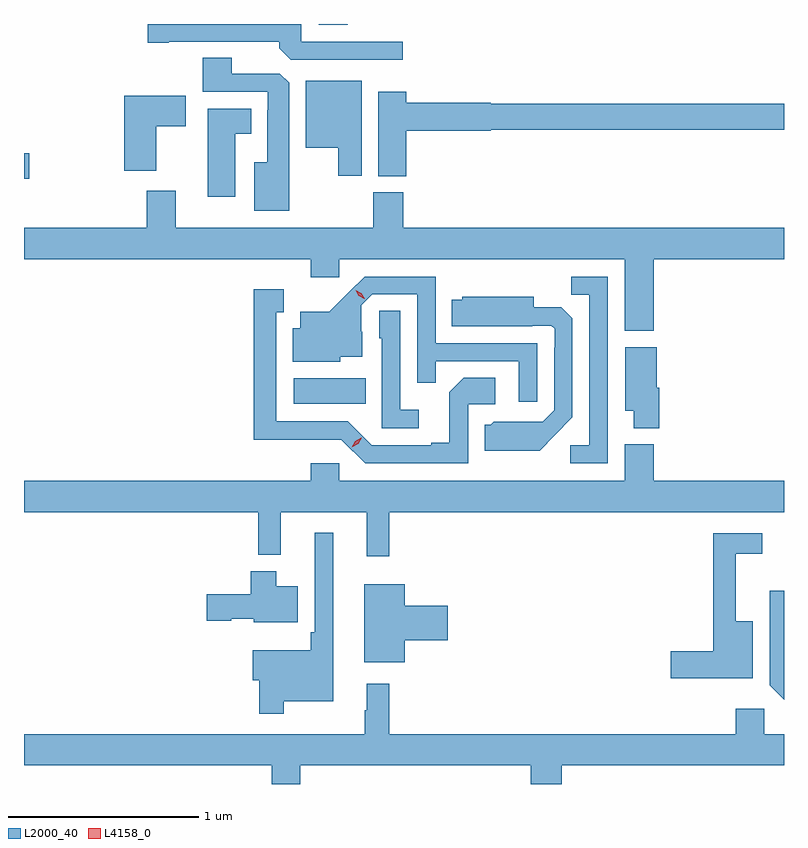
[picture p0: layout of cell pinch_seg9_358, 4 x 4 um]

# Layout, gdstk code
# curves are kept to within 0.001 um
import gdstk
lib = gdstk.Library(unit=1e-6, precision=1e-09)
def R(c, l, rs):  # rectangles x0, y0, x1, y1
    for r in rs: c.add(gdstk.rectangle(r[:2], r[2:], *l))
def P(c, l, *ps):  # polygons
    for p in ps: c.add(gdstk.Polygon(p, *l))
L2000_40 = (2000, 40)
L4158_0 = (4158, 0)

pinch_seg9_358 = lib.new_cell('pinch_seg9_358')
R(pinch_seg9_358, L2000_40, [(610.236,1195.658,610.616,1195.792), (608.817,1196.843,608.845,1196.978), (610.367,1197.653,610.52,1197.657)])
P(pinch_seg9_358, L2000_40, [(610.81,1197.564),(610.275,1197.564),(610.275,1197.657),(609.468,1197.657),(609.468,1197.559),(609.58,1197.559),(609.58,1197.564),(610.16,1197.564),(610.16,1197.53),(610.221,1197.468),(610.81,1197.468)],
  [(610.213,1197.347),(610.164,1197.396),(609.91,1197.396),(609.91,1197.479),(609.758,1197.479),(609.758,1197.3),(610.101,1197.3),(610.101,1197.203),(610.097,1197.203),(610.097,1196.929),(610.028,1196.929),(610.028,1196.675),(610.213,1196.675)],
  [(610.594,1197.358),(610.301,1197.358),(610.301,1197.005),(610.472,1197.005),(610.472,1196.859),(610.594,1196.859)],
  [(610.829,1197.095),(611.274,1197.095),(611.274,1197.1),(612.817,1197.1),(612.817,1197.236),(611.274,1197.236),(611.274,1197.242),(610.829,1197.242),(610.829,1197.301),(610.682,1197.301),(610.682,1196.857),(610.829,1196.857)],
  [(609.514,1197.118),(609.667,1197.118),(609.667,1197.28),(609.344,1197.28),(609.344,1196.885),(609.514,1196.885)],
  [(609.928,1197.08),(610.012,1197.08),(610.012,1197.211),(609.785,1197.211),(609.785,1196.748),(609.928,1196.748)],
  [(610.654,1196.772),(610.654,1196.584),(609.616,1196.584),(609.616,1196.779),(609.464,1196.779),(609.464,1196.584),(608.817,1196.584),(608.817,1196.42),(610.325,1196.42),(610.325,1196.325),(610.476,1196.325),(610.476,1196.42),(611.978,1196.42),(611.978,1196.042),(612.131,1196.042),(612.131,1196.42),(612.817,1196.42),(612.817,1196.584),(610.814,1196.584),(610.814,1196.772)],
  [(611.889,1196.328),(611.698,1196.328),(611.698,1196.233),(611.793,1196.233),(611.793,1195.44),(611.691,1195.44),(611.691,1195.344),(611.889,1195.344)],
  [(611.517,1195.977),(610.983,1195.977),(610.983,1196.328),(610.61,1196.328),(610.423,1196.143),(610.271,1196.143),(610.271,1196.056),(610.232,1196.056),(610.232,1195.88),(610.482,1195.88),(610.482,1195.907),(610.597,1195.907),(610.597,1196.036),(610.593,1196.036),(610.593,1196.178),(610.65,1196.235),(610.887,1196.235),(610.887,1195.768),(610.985,1195.768),(610.985,1195.881),(611.421,1195.881),(611.421,1195.668),(611.517,1195.668)],
  [(611.154,1195.656),(611.296,1195.656),(611.296,1195.796),(611.131,1195.796),(611.055,1195.72),(611.055,1195.453),(610.961,1195.453),(610.961,1195.44),(610.647,1195.44),(610.521,1195.566),(610.144,1195.566),(610.144,1196.139),(610.183,1196.139),(610.183,1196.26),(610.026,1196.26),(610.026,1195.469),(610.488,1195.47),(610.614,1195.344),(611.154,1195.344)],
  [(611.611,1195.493),(611.703,1195.586),(611.703,1196.108),(611.644,1196.167),(611.5,1196.167),(611.5,1196.221),(611.124,1196.221),(611.124,1196.206),(611.068,1196.206),(611.068,1196.066),(611.492,1196.066),(611.492,1196.07),(611.592,1196.07),(611.61,1196.052),(611.61,1195.952),(611.607,1195.952),(611.607,1195.623),(611.547,1195.563),(611.29,1195.564),(611.274,1195.548),(611.243,1195.548),(611.243,1195.412),(611.531,1195.412)],
  [(610.894,1195.627),(610.797,1195.627),(610.797,1196.147),(610.686,1196.147),(610.686,1196.004),(610.701,1196.004),(610.701,1195.53),(610.894,1195.53)],
  [(612.161,1195.743),(612.148,1195.743),(612.148,1195.957),(611.981,1195.957),(611.981,1195.622),(612.026,1195.622),(612.026,1195.529),(612.161,1195.529)],
  [(610.622,1194.855),(610.739,1194.855),(610.739,1195.088),(612.817,1195.088),(612.817,1195.252),(612.131,1195.252),(612.131,1195.444),(611.978,1195.444),(611.978,1195.252),(610.476,1195.252),(610.476,1195.345),(610.325,1195.345),(610.325,1195.252),(608.817,1195.252),(608.817,1195.088),(610.051,1195.088),(610.051,1194.863),(610.169,1194.863),(610.169,1195.088),(610.622,1195.088)],
  [(610.183,1194.092),(610.444,1194.092),(610.444,1194.979),(610.347,1194.979),(610.347,1194.457),(610.327,1194.457),(610.327,1194.361),(610.02,1194.361),(610.02,1194.203),(610.054,1194.203),(610.054,1194.027),(610.183,1194.027)],
  [(612.652,1194.514),(612.563,1194.514),(612.563,1194.87),(612.703,1194.87),(612.703,1194.978),(612.445,1194.978),(612.445,1194.356),(612.222,1194.356),(612.222,1194.214),(612.652,1194.214)],
  [(610.258,1194.697),(610.144,1194.697),(610.144,1194.778),(610.01,1194.778),(610.01,1194.657),(609.78,1194.657),(609.78,1194.515),(609.909,1194.515),(609.909,1194.527),(610.026,1194.527),(610.026,1194.509),(610.258,1194.509)],
  [(610.822,1194.413),(611.047,1194.413),(611.047,1194.596),(610.822,1194.596),(610.822,1194.709),(610.607,1194.709),(610.607,1194.299),(610.822,1194.299)],
  [(612.817,1194.673),(612.741,1194.673),(612.741,1194.177),(612.817,1194.101)],
  [(610.272,1193.756),(611.483,1193.756),(611.483,1193.657),(611.648,1193.657),(611.648,1193.756),(612.817,1193.756),(612.817,1193.92),(612.714,1193.92),(612.714,1194.052),(612.563,1194.052),(612.563,1193.92),(610.739,1193.92),(610.739,1194.184),(610.622,1194.184),(610.622,1194.044),(610.611,1194.044),(610.611,1193.92),(608.817,1193.92),(608.817,1193.756),(610.121,1193.756),(610.121,1193.657),(610.272,1193.657)])
P(pinch_seg9_358, L4158_0, [(610.543,1195.429),(610.543,1195.429),(610.561,1195.462),(610.593,1195.48),(610.594,1195.48),(610.594,1195.48),(610.576,1195.448),(610.543,1195.429)],
  [(610.609,1196.211),(610.579,1196.226),(610.562,1196.256),(610.562,1196.256),(610.562,1196.256),(610.592,1196.241),(610.61,1196.211),(610.61,1196.211)])

lib.write_gds('pinch_seg9_358.gds')
